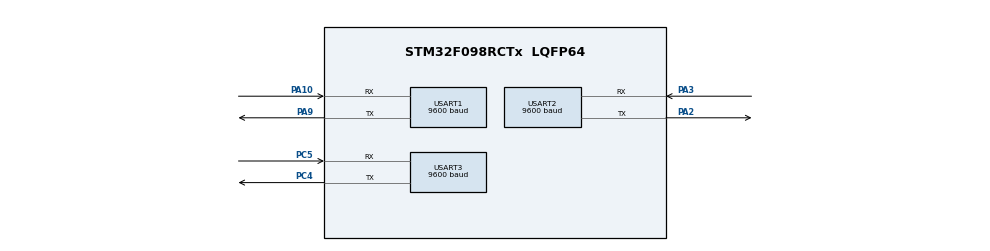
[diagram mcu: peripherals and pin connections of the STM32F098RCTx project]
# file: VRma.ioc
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Dma.Request0=USART1_RX
Dma.Request1=USART2_TX
Dma.USART1_RX.0.Direction=DMA_PERIPH_TO_MEMORY
Dma.USART1_RX.0.Instance=DMA1_Channel3
Dma.USART1_RX.0.MemDataAlignment=DMA_MDATAALIGN_BYTE
Dma.USART1_RX.0.MemInc=DMA_MINC_ENABLE
Dma.USART1_RX.0.Mode=DMA_NORMAL
Dma.USART1_RX.0.PeriphDataAlignment=DMA_PDATAALIGN_BYTE
Dma.USART1_RX.0.PeriphInc=DMA_PINC_DISABLE
Dma.USART1_RX.0.Priority=DMA_PRIORITY_LOW
Dma.USART2_TX.1.Direction=DMA_MEMORY_TO_PERIPH
Dma.USART2_TX.1.Instance=DMA1_Channel2
Dma.USART2_TX.1.MemDataAlignment=DMA_MDATAALIGN_BYTE
Dma.USART2_TX.1.MemInc=DMA_MINC_ENABLE
Dma.USART2_TX.1.Mode=DMA_NORMAL
Dma.USART2_TX.1.PeriphDataAlignment=DMA_PDATAALIGN_BYTE
Dma.USART2_TX.1.PeriphInc=DMA_PINC_DISABLE
Dma.USART2_TX.1.Priority=DMA_PRIORITY_LOW
Mcu.Family=STM32F0
Mcu.Name=STM32F098RCTx
Mcu.Package=LQFP64
NVIC.DMA1_Ch2_3_DMA2_Ch1_2_IRQn=true\:0\:0\:false\:false\:true\:false\:true
NVIC.USART1_IRQn=true\:0\:0\:false\:false\:true\:true\:true
NVIC.USART2_IRQn=true\:0\:0\:false\:false\:true\:true\:true
NVIC.USART3_8_IRQn=true\:0\:0\:false\:false\:true\:true\:true
PA10.Mode=Asynchronous
PA10.Signal=USART1_RX
PA2.Mode=Asynchronous
PA2.Signal=USART2_TX
PA3.Mode=Asynchronous
PA3.Signal=USART2_RX
PA9.Mode=Asynchronous
PA9.Signal=USART1_TX
PC4.Mode=Asynchronous
PC4.Signal=USART3_TX
PC5.Mode=Asynchronous
PC5.Signal=USART3_RX
ProjectManager.HeapSize=0x200
ProjectManager.StackSize=0x400
ProjectManager.TargetToolchain=STM32CubeIDE
USART1.BaudRate=9600
USART1.VirtualMode-Asynchronous=VM_ASYNC
USART2.BaudRate=9600
USART2.VirtualMode-Asynchronous=VM_ASYNC
USART3.BaudRate=9600
USART3.VirtualMode-Asynchronous=VM_ASYNC
USART3.WordLength=WORDLENGTH_8B
board=custom

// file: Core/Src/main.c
/* USER CODE BEGIN Header */
/**
  ******************************************************************************
  * @file           : main.c
  * @brief          : Main program body
  ******************************************************************************
  * @attention
  *
  * Copyright (c) 2022 STMicroelectronics.
  * All rights reserved.
  *
  * This software is licensed under terms that can be found in the LICENSE file
  * in the root directory of this software component.
  * If no LICENSE file comes with this software, it is provided AS-IS.
  *
  ******************************************************************************
  */
/* USER CODE END Header */
#include "main.h"

/* USER CODE BEGIN Includes */
#include "stm32f0xx.h"

#include <string.h> // for memset()
#include <stdio.h> // for printf()
#include <math.h>   // for M_PI
/* USER CODE END Includes */

/* USER CODE BEGIN PTD */
uint8_t myRxData[10];
volatile uint8_t RxReady = 0;
volatile uint8_t RxByte = 0;

/* USER CODE END PTD */

/* USER CODE BEGIN PD */
#define FRAME_HEADER            0x55
#define CMD_SERVO_MOVE          0x03
#define CMD_ACTION_GROUP_RUN    0x06
#define CMD_ACTION_GROUP_STOP   0x07
#define CMD_ACTION_GROUP_SPEED  0x0B
#define CMD_GET_BATTERY_VOLTAGE 0x0F
#define BUFF_VAL 				100

#define BATTERY_VOLTAGE       0x0F
#define ACTION_GROUP_RUNNING  0x06
#define ACTION_GROUP_STOPPED  0x07
#define ACTION_GROUP_COMPLETE 0x08

#define GET_LOW_BYTE(A) (uint8_t)((A))

#define GET_HIGH_BYTE(A) (uint8_t)((A) >> 8)

#define BYTE_TO_HW(A, B) ((((uint16_t)(A)) << 8) | (uint8_t)(B))
/* USER CODE END PD */

UART_HandleTypeDef huart1;
UART_HandleTypeDef huart2;
UART_HandleTypeDef huart3;
DMA_HandleTypeDef hdma_usart1_rx;
DMA_HandleTypeDef hdma_usart2_tx;

void SystemClock_Config(void);
static void MX_GPIO_Init(void);
static void MX_DMA_Init(void);
static void MX_USART2_UART_Init(void);
static void MX_USART1_UART_Init(void);
static void MX_USART3_UART_Init(void);

/* USER CODE BEGIN 0 */

//============================================================================
// Configure Timer 1 and the PWM output pins.
// Parameters: none
//============================================================================
void setup_tim1()
{
    RCC->AHBENR |= RCC_AHBENR_GPIOAEN; //Enable port A
    GPIOA->MODER |= 0x20000; //Set pins 8,9,10,11 for alternate function use
    GPIOA->AFR[1] |= 0x2; //Rout timer to external pins
    RCC->APB2ENR |= RCC_APB2ENR_TIM1EN; //Enable TIM1 clock
    TIM1->BDTR |= TIM_BDTR_MOE; //Set BDTR MOE
    TIM1->PSC = 1-1; //Set PSC
    TIM1->ARR = 2400-1; //Set ARR
    TIM1->CCMR1 |= 0x60; //Set CCMR1 for PWM
    TIM1->CCER |= TIM_CCER_CC1E; //Enable output 1
    TIM1->CCR1 = (2400-1) * 0.9;
    TIM1->CR1 |= TIM_CR1_CEN;
}

void send_data(int data)
{
    while((USART3->ISR & USART_ISR_TXE) == 0); //Wait for transmit set
    USART3->TDR = data; //Write data to transmitter
}

void send_dataPi(int data)
{
    while((USART2->ISR & USART_ISR_TXE) == 0); //Wait for transmit set
    USART2->TDR = data; //Write data to transmitter
}

void setup_uart3()
{
	RCC->AHBENR |= RCC_AHBENR_GPIOCEN; //enable GPIOC
	RCC->APB1ENR |= RCC_APB1ENR_USART3EN;

	//Set alternate function for PA1 and PA2 (Tx/Rx)
	//Set pins 10 and 11 for alternate function (10 code)
	GPIOC->MODER |= 0xA00000;
	GPIOC->MODER &= ~(0x500000);

	//Set PC10 and PC11 alternate function to AFR1 (Uart3 Tx/Rx respectively)
	GPIOC->AFR[1] |= 0x1100;

	//Set baud rate to 9600 by dividing 48MHz clock by 9600
	USART3->BRR = HAL_RCC_GetHCLKFreq() / 9600;

    USART3->CR1 &= ~USART_CR1_UE; //Disable USART
    USART3->CR1 &= ~USART_CR1_M; //Set word size of 8 bits
    USART3->CR2 &= ~USART_CR2_STOP; //Set 1 stop bit
    USART3->CR1 &= ~USART_CR1_PCE; //Disable parity
    USART3->CR1 &= ~USART_CR1_OVER8; //Oversample by 16x

	//Enable Tx and Rx and USART
	USART3->CR1 |= 0xD; //1101

    while((USART3->ISR & USART_ISR_TEACK) == 0); //Wait for transmit acknowledge
    while((USART3->ISR & USART_ISR_REACK) == 0); //Wait for receive acknowledge
}

void fillbuffer(uint8_t buf[10], uint8_t data_len, uint16_t pos, uint16_t t, uint8_t servoID, uint8_t cmd)
{
	buf[0] = FRAME_HEADER;
	buf[1] = FRAME_HEADER;
	buf[2] = data_len;
	buf[3] = CMD_SERVO_MOVE;
	buf[4] = 1;
	buf[5] = GET_LOW_BYTE(t);
	buf[6] = GET_HIGH_BYTE(t);
	buf[7] = servoID;
	buf[8] = GET_LOW_BYTE(pos);
	buf[9] = GET_HIGH_BYTE(pos);
}

/* USER CODE END 0 */

int main(void)
{

  /* MCU Configuration--------------------------------------------------------*/

  /* Reset of all peripherals, Initializes the Flash interface and the Systick. */
  HAL_Init();

  /* Configure the system clock */
  SystemClock_Config();

  /* Initialize all configured peripherals */
  MX_GPIO_Init();
  MX_DMA_Init();
  MX_USART2_UART_Init();
  MX_USART1_UART_Init();
  MX_USART3_UART_Init();
  /* USER CODE BEGIN 2 */

  /* USER CODE BEGIN 2 */
  uint8_t buf[10];
  /*uint16_t pos3 = 1500; // 500 - 2000
  uint16_t claw_pos = 1500; // 1500 - 2500
  uint16_t pos245 = 1500; // 500 - 2500*/

  /* USER CODE END 2 */
  uint8_t j_data[BUFF_VAL];
  /* Infinite loop */

  while (1)
  {
	  int count = 0;
	  HAL_UART_Receive(&huart3,j_data,BUFF_VAL,1000);
	  int releaseFlag = 1;
	  uint8_t* j_scanner = j_data;
	  int j_val = 0;
	  while(releaseFlag)
	  {
		  while(j_data[count]!=':' && releaseFlag)
		  {
			  j_scanner++;
			  count++;
			  j_val = j_val*10 + (int)(j_data[count]-'0');
			  if(j_data[count] == '$' || count >= BUFF_VAL)
				  releaseFlag = 0;
		  }
		  j_scanner++;
		  count++;
	  }
	  //uint8_t j1 = j_data[0];
	  uint8_t j2 = j_data[1];
	  uint8_t j3 = j_data[2];
	  //uint8_t j4 = j_data[3];
	  //uint8_t j5 = j_data[4];
	  uint8_t j6 = j_data[5];
	  uint8_t j7 = j_data[6];
	  uint8_t j8 = j_data[7];

	  //correct data						 UNITY	       SERVO LIMITS
	  j8 = (j8 - 1500) * 10;   //0 to 100    :  1500-2500
	  j7 = (j7+90)*11 + 500;   // -90 to 90  :  500 - 2500
	  j6 = (j6+60)*13.6 + 500; //-60 to 50   :  500 - 2000
	  //j5 = (j5+180)*0 + 0;     //-180 to 180 :  N/A
	  //j4 = 0; 						 //--------------------------
	  j3 = j3*14.2 + 500;      //0 to 140    :  500 - 2500
	  j2 = (j2+50)*20 + 500;   //-50 to 50   :  500 - 2500
	  //j1 = (j1+90)*0 + 0;      //-90 to 90   :  N/A

	/* Servo ID:
	 * 1: (not available)
	 * 2: rotate claw
	 * 3: top
	 * 4: middle
	 * 5: bottom
	 * 6: claw
	 * 7: (not available)
	 * 8: (not available)

	 J# ID:
	 * J1: Rotate Base (not available)
	 * J2: Bottom
	 * J3: Middle
	 * J4: (zerod out)
	 * J5: Spin (not available)
	 * J6: Top
	 * J7: spin claw
	 * J8: Claw (1-100 button)
	 */

	if(j2 > 2500)
		j2 = (uint8_t)2500;
	else if(j2 < 500)
		j2 = (uint8_t)500;

	if(j3 > 2500)
		j3 = (uint8_t)2500;
	else if(j3 < 500)
		j3 = (uint8_t)500;

	if(j6 > 2000)
		j6 = (uint8_t)2000;
	else if(j6 < 500)
		j6 = (uint8_t)500;

	if(j7 > 2500)
		j7 = (uint8_t)2500;
	else if(j7 < 500)
		j7 = (uint8_t)500;

	if(j8 > 2500)
		j8 = (uint8_t)2500;
	else if(j8 < 1500)
		j8 = (uint8_t)1500;

	//Claw : j8 sID 6
	/*fillbuffer(buf, 8, j8, 1000, 6, 1);
	for(const uint8_t *c = buf; *c; c++)
		send_data(*c);

	//Rotate Claw : j7 sID 2
	fillbuffer(buf, 8, j7, 1000, 2, 1);
	for(const uint8_t *c = buf; *c; c++)
		send_data(*c);

	//Top : J6 sID 3
	fillbuffer(buf, 8, j6, 1000, 3, 1);
	for(const uint8_t *c = buf; *c; c++)
		send_data(*c);

	//Middle: J3 sID 4
	fillbuffer(buf, 8, j3, 1000, 4, 1);
	for(const uint8_t *c = buf; *c; c++)
		send_data(*c);

	//Bottom: J2 sID 5
	fillbuffer(buf, 8, j2, 1000, 5, 1);
	for(const uint8_t *c = buf; *c; c++)
		send_data(*c);
*/
	HAL_UART_Transmit(&huart3,j_data, 10,1000);
  }
  /* USER CODE END 3 */

  /* USER CODE END 3 */
}

void SystemClock_Config(void)
{
  RCC_OscInitTypeDef RCC_OscInitStruct = {0};
  RCC_ClkInitTypeDef RCC_ClkInitStruct = {0};
  RCC_PeriphCLKInitTypeDef PeriphClkInit = {0};

  /** Initializes the RCC Oscillators according to the specified parameters
  * in the RCC_OscInitTypeDef structure.
  */
  RCC_OscInitStruct.OscillatorType = RCC_OSCILLATORTYPE_HSI;
  RCC_OscInitStruct.HSIState = RCC_HSI_ON;
  RCC_OscInitStruct.HSICalibrationValue = RCC_HSICALIBRATION_DEFAULT;
  RCC_OscInitStruct.PLL.PLLState = RCC_PLL_NONE;
  if (HAL_RCC_OscConfig(&RCC_OscInitStruct) != HAL_OK)
  {
    Error_Handler();
  }
  /** Initializes the CPU, AHB and APB buses clocks
  */
  RCC_ClkInitStruct.ClockType = RCC_CLOCKTYPE_HCLK|RCC_CLOCKTYPE_SYSCLK
                              |RCC_CLOCKTYPE_PCLK1;
  RCC_ClkInitStruct.SYSCLKSource = RCC_SYSCLKSOURCE_HSI;
  RCC_ClkInitStruct.AHBCLKDivider = RCC_SYSCLK_DIV1;
  RCC_ClkInitStruct.APB1CLKDivider = RCC_HCLK_DIV1;

  if (HAL_RCC_ClockConfig(&RCC_ClkInitStruct, FLASH_LATENCY_0) != HAL_OK)
  {
    Error_Handler();
  }
  PeriphClkInit.PeriphClockSelection = RCC_PERIPHCLK_USART3|RCC_PERIPHCLK_USART1
                              |RCC_PERIPHCLK_USART2;
  PeriphClkInit.Usart1ClockSelection = RCC_USART1CLKSOURCE_PCLK1;
  PeriphClkInit.Usart2ClockSelection = RCC_USART2CLKSOURCE_PCLK1;
  PeriphClkInit.Usart3ClockSelection = RCC_USART3CLKSOURCE_PCLK1;
  if (HAL_RCCEx_PeriphCLKConfig(&PeriphClkInit) != HAL_OK)
  {
    Error_Handler();
  }
}

static void MX_USART1_UART_Init(void)
{

  huart1.Instance = USART1;
  huart1.Init.BaudRate = 9600;
  huart1.Init.WordLength = UART_WORDLENGTH_8B;
  huart1.Init.StopBits = UART_STOPBITS_1;
  huart1.Init.Parity = UART_PARITY_NONE;
  huart1.Init.Mode = UART_MODE_TX_RX;
  huart1.Init.HwFlowCtl = UART_HWCONTROL_NONE;
  huart1.Init.OverSampling = UART_OVERSAMPLING_16;
  huart1.Init.OneBitSampling = UART_ONE_BIT_SAMPLE_DISABLE;
  huart1.AdvancedInit.AdvFeatureInit = UART_ADVFEATURE_NO_INIT;
  if (HAL_UART_Init(&huart1) != HAL_OK)
  {
    Error_Handler();
  }

}

static void MX_USART2_UART_Init(void)
{

  huart2.Instance = USART2;
  huart2.Init.BaudRate = 9600;
  huart2.Init.WordLength = UART_WORDLENGTH_8B;
  huart2.Init.StopBits = UART_STOPBITS_1;
  huart2.Init.Parity = UART_PARITY_NONE;
  huart2.Init.Mode = UART_MODE_TX_RX;
  huart2.Init.HwFlowCtl = UART_HWCONTROL_NONE;
  huart2.Init.OverSampling = UART_OVERSAMPLING_16;
  huart2.Init.OneBitSampling = UART_ONE_BIT_SAMPLE_DISABLE;
  huart2.AdvancedInit.AdvFeatureInit = UART_ADVFEATURE_NO_INIT;
  if (HAL_UART_Init(&huart2) != HAL_OK)
  {
    Error_Handler();
  }

}

static void MX_USART3_UART_Init(void)
{

  huart3.Instance = USART3;
  huart3.Init.BaudRate = 9600;
  huart3.Init.WordLength = UART_WORDLENGTH_8B;
  huart3.Init.StopBits = UART_STOPBITS_1;
  huart3.Init.Parity = UART_PARITY_NONE;
  huart3.Init.Mode = UART_MODE_TX_RX;
  huart3.Init.HwFlowCtl = UART_HWCONTROL_NONE;
  huart3.Init.OverSampling = UART_OVERSAMPLING_16;
  huart3.Init.OneBitSampling = UART_ONE_BIT_SAMPLE_DISABLE;
  huart3.AdvancedInit.AdvFeatureInit = UART_ADVFEATURE_NO_INIT;
  if (HAL_UART_Init(&huart3) != HAL_OK)
  {
    Error_Handler();
  }

}

static void MX_DMA_Init(void)
{

  /* DMA controller clock enable */
  __HAL_RCC_DMA1_CLK_ENABLE();

  /* DMA interrupt init */
  /* DMA1_Ch2_3_DMA2_Ch1_2_IRQn interrupt configuration */
  HAL_NVIC_SetPriority(DMA1_Ch2_3_DMA2_Ch1_2_IRQn, 0, 0);
  HAL_NVIC_EnableIRQ(DMA1_Ch2_3_DMA2_Ch1_2_IRQn);

}

static void MX_GPIO_Init(void)
{

  /* GPIO Ports Clock Enable */
  __HAL_RCC_GPIOA_CLK_ENABLE();
  __HAL_RCC_GPIOC_CLK_ENABLE();

}

void Error_Handler(void)
{
  __disable_irq();
  while (1)
  {
  }
}
